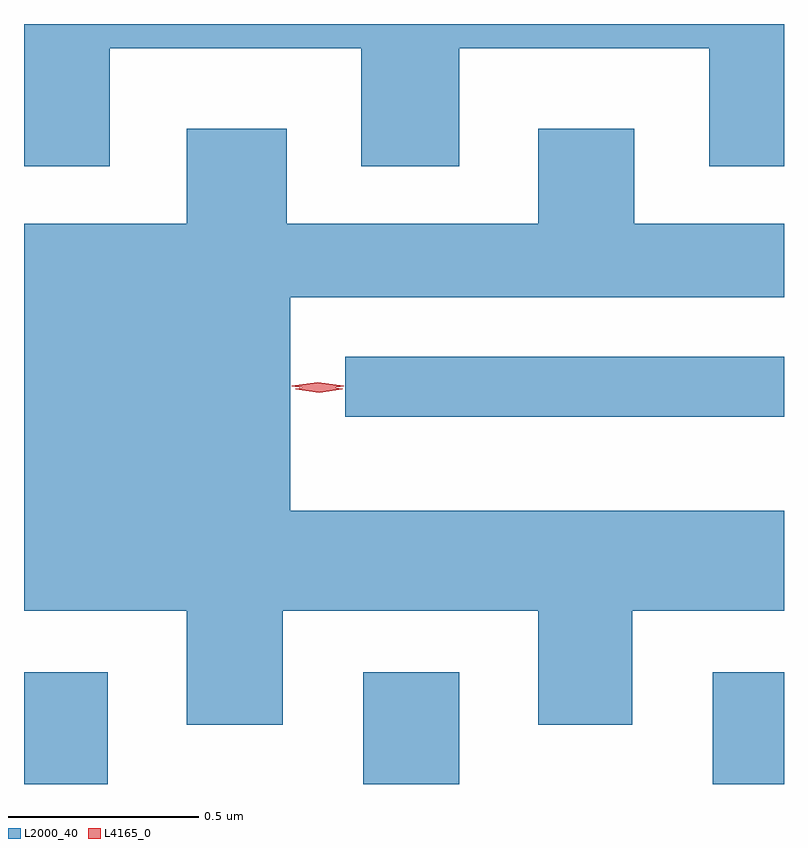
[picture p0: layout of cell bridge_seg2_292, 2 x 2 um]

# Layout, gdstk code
import gdstk
lib = gdstk.Library(unit=1e-6, precision=1e-09)
def R(c, l, rs):  # rectangles x0, y0, x1, y1
    for r in rs: c.add(gdstk.rectangle(r[:2], r[2:], *l))
def P(c, l, *ps):  # polygons
    for p in ps: c.add(gdstk.Polygon(p, *l))
L2000_40 = (2000, 40)
L4165_0 = (4165, 0)

bridge_seg2_292 = lib.new_cell('bridge_seg2_292')
R(bridge_seg2_292, L2000_40, [(619.348,1053.04,619.569,1053.334), (620.241,1053.04,620.494,1053.334), (621.161,1053.04,621.348,1053.334), (620.193,1054.006,621.348,1054.164)])
P(bridge_seg2_292, L2000_40, [(619.574,1054.976),(620.236,1054.976),(620.236,1054.666),(620.494,1054.666),(620.494,1054.976),(621.151,1054.976),(621.151,1054.666),(621.348,1054.666),(621.348,1055.04),(619.348,1055.04),(619.348,1054.666),(619.574,1054.666)],
  [(620.029,1053.496),(620.701,1053.496),(620.701,1053.196),(620.949,1053.196),(620.949,1053.496),(621.348,1053.496),(621.348,1053.759),(620.049,1053.759),(620.049,1054.321),(621.348,1054.321),(621.348,1054.514),(620.954,1054.514),(620.954,1054.764),(620.701,1054.764),(620.701,1054.514),(620.039,1054.514),(620.039,1054.764),(619.776,1054.764),(619.776,1054.514),(619.348,1054.514),(619.348,1053.496),(619.776,1053.496),(619.776,1053.196),(620.029,1053.196)])
P(bridge_seg2_292, L4165_0, [(620.121,1054.078),(620.053,1054.087),(620.052,1054.088),(620.053,1054.088),(620.121,1054.097),(620.19,1054.088),(620.19,1054.087),(620.19,1054.087)],
  [(620.125,1054.07),(620.063,1054.079),(620.062,1054.08),(620.063,1054.08),(620.125,1054.09),(620.186,1054.08),(620.187,1054.08),(620.186,1054.079)])

lib.write_gds('bridge_seg2_292.gds')
